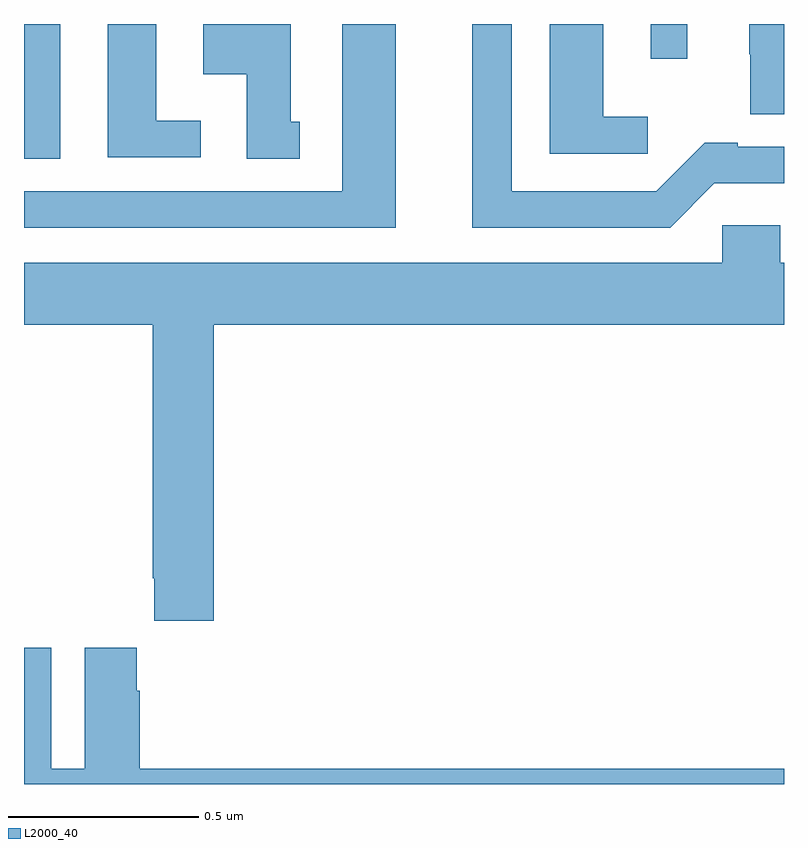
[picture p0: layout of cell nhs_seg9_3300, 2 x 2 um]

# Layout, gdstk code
import gdstk
lib = gdstk.Library(unit=1e-6, precision=1e-09)
def R(c, l, rs):  # rectangles x0, y0, x1, y1
    for r in rs: c.add(gdstk.rectangle(r[:2], r[2:], *l))
def P(c, l, *ps):  # polygons
    for p in ps: c.add(gdstk.Polygon(p, *l))
L2000_40 = (2000, 40)

nhs_seg9_3300 = lib.new_cell('nhs_seg9_3300')
R(nhs_seg9_3300, L2000_40, [(151,1242.145,151.096,1242.5), (152.649,1242.408,152.746,1242.5)])
P(nhs_seg9_3300, L2000_40, [(152.641,1242.256),(152.524,1242.256),(152.524,1242.5),(152.384,1242.5),(152.384,1242.159),(152.641,1242.159)],
  [(151.726,1242.243),(151.702,1242.243),(151.702,1242.5),(151.472,1242.5),(151.472,1242.368),(151.586,1242.368),(151.586,1242.145),(151.726,1242.145)],
  [(151.465,1242.246),(151.348,1242.246),(151.348,1242.5),(151.22,1242.5),(151.22,1242.15),(151.465,1242.15)],
  [(153,1242.5),(152.909,1242.5),(152.909,1242.42),(152.911,1242.42),(152.911,1242.262),(153,1242.262)],
  [(152.817,1242.081),(153,1242.081),(153,1242.177),(152.878,1242.177),(152.878,1242.188),(152.792,1242.188),(152.664,1242.06),(152.284,1242.06),(152.284,1242.5),(152.18,1242.5),(152.18,1241.964),(152.7,1241.964)],
  [(151.978,1242.5),(151.838,1242.5),(151.838,1242.06),(151,1242.06),(151,1241.964),(151.978,1241.964)],
  [(151.499,1241.708),(153,1241.708),(153,1241.872),(152.99,1241.872),(152.99,1241.97),(152.838,1241.97),(152.838,1241.872),(151,1241.872),(151,1241.708),(151.339,1241.708),(151.339,1241.041),(151.343,1241.041),(151.343,1240.929),(151.499,1240.929)],
  [(153,1240.54),(151.304,1240.54),(151.304,1240.745),(151.297,1240.745),(151.297,1240.858),(151.16,1240.858),(151.16,1240.54),(151.072,1240.54),(151.072,1240.858),(151,1240.858),(151,1240.5),(153,1240.5)])

lib.write_gds('nhs_seg9_3300.gds')
